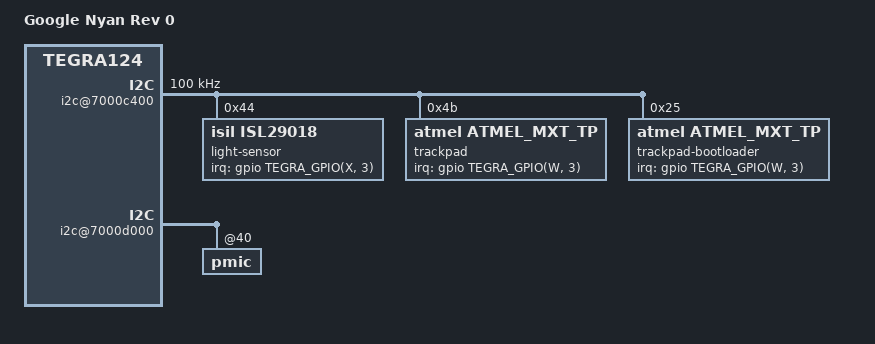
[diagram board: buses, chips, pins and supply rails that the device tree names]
/dts-v1/;

#include "tegra124.dtsi"
#include "tegra124-nyan.dtsi"
#include "tegra124-nyan-emc.dtsi"

/ {
	model = "Google Nyan Rev 0";

	compatible = "google,nyan-rev0", "google,nyan", "nvidia,venice2",
			"nvidia,tegra124";

	host1x@50000000 {
		dc@54200000 {
			pclk = <287456400>;
			h-ref-to-sync = <11>;
			v-ref-to-sync = <1>;
			h-sync-width = <32>;
			v-sync-width = <10>;
			h-back-porch = <80>;
			v-back-porch = <36>;
			h-active = <2560>;
			v-active = <1700>;
			h-front-porch = <48>;
			v-front-porch = <3>;
			depth = <24>;
			width = <283>;
			height = <195>;
			power-off-time = <500>;
		};
	};

	pinmux {
		pinmux@0 {
			dap1_din_pn1 {
				nvidia,pins = "dap1_din_pn1",
						"dap1_dout_pn2",
						"dap1_fs_pn0",
						"dap1_sclk_pn3";
				nvidia,function = "i2s0";
				nvidia,pull = <TEGRA_PIN_PULL_NONE>;
				nvidia,tristate = <TEGRA_PIN_ENABLE>;
				nvidia,enable-input = <TEGRA_PIN_ENABLE>;
			};
			dap4_din_pp5 {
				nvidia,pins = "dap4_din_pp5",
						"dap4_dout_pp6",
						"dap4_fs_pp4",
						"dap4_sclk_pp7";
				nvidia,function = "i2s3";
				nvidia,pull = <TEGRA_PIN_PULL_NONE>;
				nvidia,tristate = <TEGRA_PIN_ENABLE>;
				nvidia,enable-input = <TEGRA_PIN_ENABLE>;
			};
			uart2_cts_n_pj5 {
				nvidia,pins = "uart2_cts_n_pj5";
				nvidia,function = "uartb";
				nvidia,pull = <TEGRA_PIN_PULL_NONE>;
				nvidia,tristate = <TEGRA_PIN_DISABLE>;
				nvidia,enable-input = <TEGRA_PIN_ENABLE>;
			};
			uart2_rts_n_pj6 {
				nvidia,pins = "uart2_rts_n_pj6";
				nvidia,function = "uartb";
				nvidia,pull = <TEGRA_PIN_PULL_NONE>;
				nvidia,tristate = <TEGRA_PIN_DISABLE>;
				nvidia,enable-input = <TEGRA_PIN_DISABLE>;
			};
			uart2_rxd_pc3 {
				nvidia,pins = "uart2_rxd_pc3";
				nvidia,function = "irda";
				nvidia,pull = <TEGRA_PIN_PULL_NONE>;
				nvidia,tristate = <TEGRA_PIN_DISABLE>;
				nvidia,enable-input = <TEGRA_PIN_ENABLE>;
			};
			uart2_txd_pc2 {
				nvidia,pins = "uart2_txd_pc2";
				nvidia,function = "irda";
				nvidia,pull = <TEGRA_PIN_PULL_NONE>;
				nvidia,tristate = <TEGRA_PIN_DISABLE>;
				nvidia,enable-input = <TEGRA_PIN_DISABLE>;
			};
			uart3_cts_n_pa1 {
				nvidia,pins = "uart3_cts_n_pa1",
						"uart3_rxd_pw7";
				nvidia,function = "uartc";
				nvidia,pull = <TEGRA_PIN_PULL_NONE>;
				nvidia,tristate = <TEGRA_PIN_DISABLE>;
				nvidia,enable-input = <TEGRA_PIN_ENABLE>;
			};
			uart3_rts_n_pc0 {
				nvidia,pins = "uart3_rts_n_pc0",
						"uart3_txd_pw6";
				nvidia,function = "uartc";
				nvidia,pull = <TEGRA_PIN_PULL_NONE>;
				nvidia,tristate = <TEGRA_PIN_DISABLE>;
				nvidia,enable-input = <TEGRA_PIN_DISABLE>;
			};
			pb0 {
				nvidia,pins = "pb0",
						"pb1";
				nvidia,function = "uartd";
				nvidia,pull = <TEGRA_PIN_PULL_UP>;
				nvidia,tristate = <TEGRA_PIN_DISABLE>;
				nvidia,enable-input = <TEGRA_PIN_ENABLE>;
			};
			kbl_pwm {
				nvidia,pins = "ph0";
				nvidia,function = "pwm0";
				nvidia,pull = <TEGRA_PIN_PULL_NONE>;
				nvidia,tristate = <TEGRA_PIN_DISABLE>;
				nvidia,enable-input = <TEGRA_PIN_DISABLE>;
			};
			kb_row6_pr6 {
				nvidia,pins = "kb_row6_pr6";
				nvidia,function = "displaya_alt";
				nvidia,pull = <TEGRA_PIN_PULL_DOWN>;
				nvidia,tristate = <TEGRA_PIN_DISABLE>;
				nvidia,enable-input = <TEGRA_PIN_ENABLE>;
			};
			als_irq_l {
				nvidia,pins = "gpio_x3_aud_px3";
				nvidia,function = "gmi";
				nvidia,pull = <TEGRA_PIN_PULL_NONE>;
				nvidia,tristate = <TEGRA_PIN_ENABLE>;
				nvidia,enable-input = <TEGRA_PIN_ENABLE>;
			};
			wifi_rst_l {
				nvidia,pins = "clk2_req_pcc5";
				nvidia,function = "dap";
				nvidia,pull = <TEGRA_PIN_PULL_NONE>;
				nvidia,tristate = <TEGRA_PIN_DISABLE>;
				nvidia,enable-input = <TEGRA_PIN_DISABLE>;
			};
			hp_det_l {
				nvidia,pins = "ulpi_data1_po2";
				nvidia,function = "spi3";
				nvidia,pull = <TEGRA_PIN_PULL_NONE>;
				nvidia,tristate = <TEGRA_PIN_DISABLE>;
				nvidia,enable-input = <TEGRA_PIN_ENABLE>;
			};
		};
	};

	i2c@7000c400 {
		clock-frequency = <100000>;

		light-sensor {
			compatible = "isil,isl29018";
			reg = <0x44>;
			interrupt-parent = <&gpio>;
			interrupts = <TEGRA_GPIO(X, 3) IRQ_TYPE_NONE>;
		};

		trackpad {
			compatible = "atmel,atmel_mxt_tp";
			reg = <0x4b>;
			interrupt-parent = <&gpio>;
			interrupts = <TEGRA_GPIO(W, 3) IRQ_TYPE_EDGE_FALLING>;
			wakeup-source;
		};

		trackpad-bootloader {
			compatible = "atmel,atmel_mxt_tp";
			reg = <0x25>;
			interrupt-parent = <&gpio>;
			interrupts = <TEGRA_GPIO(W, 3) IRQ_TYPE_EDGE_FALLING>;
			wakeup-source;
		};
	};

	i2c@7000d000 {
		pmic@40 {
			pinctrl@0 {
				gpio6 {
					pins = "gpio6";
					function = "gpio";
					bias-high-impedance;
				};
			};
		};
	};

	sdhci@700b0000 {
		reset-gpios = <&gpio TEGRA_GPIO(CC, 5) GPIO_ACTIVE_HIGH>;
		trim-delay = <0x2>;
		calib-3v3-offsets = <0x7676>;
		calib-1v8-offsets = <0x7676>;
		calib-1v8-offsets-uhs-modes = <0x08>; /* DDR50 */
		max-frequency = <204000000>;
	};

	sdhci@700b0400 {
		wp-gpios = <&gpio TEGRA_GPIO(Q, 4) GPIO_ACTIVE_HIGH>;
		wp-inverted;
		trim-delay = <0x3>;
		calib-3v3-offsets = <0x7676>;
		calib-1v8-offsets = <0x7676>;
		calib-1v8-offsets-uhs-modes = <0x08>; /* DDR50 */
		max-frequency = <136000000>;
	};

	sdhci@700b0600 {
		trim-delay = <0x4>;
		ddr-trim-delay = <0x4>;
		calib-3v3-offsets = <0x0202>;
		calib-1v8-offsets = <0x0202>;
		calib-1v8-offsets-uhs-modes = <0x28>; /* DDR50 | HS200 */
		max-frequency = <200000000>;
	};

	sound {
		nvidia,hp-det-gpios = <&gpio TEGRA_GPIO(O, 2) GPIO_ACTIVE_HIGH>;
		nvidia,mic-det-gpios = <&gpio TEGRA_GPIO(R, 7)
							GPIO_ACTIVE_HIGH>;
	};

	skin_temp: therm-est {
		compatible = "nvidia,tegra124-therm-est";
		toffset = <9793>;
		tc1 = <10>;
		tc2 = <1>;
		polling-period = <1100>;

		#thermal-sensor-cells = <0>;

		sub-devs {
			dev@0 {
				dev = <&diode_thermal_sensor>;
				coeffs = "2 1 1 1 1 1 1 1 1 1 1 0 1 1 0 0 0 0 -1 -7";
			};

			dev@1 {
				dev = <&board_thermal_sensor>;
				coeffs = "-11 -7 -5 -3 -3 -2 -1 0 0 0 1 1 1 2 2 3 4 6 11 18";
			};
		};
	};

	thermal-zones {
		skin-therm {
			polling-delay-passive = <15000>; /* milliseconds */
			polling-delay = <0>; /* milliseconds */

			thermal-sensors = <&skin_temp>;

			trips {
				balance_trip0: balance_trip {
					temperature = <45000>; /* millicelsius */
					hysteresis = <0>; /* millicelsius */
					type = "passive";
				};
			};

			cooling-maps {
				map0 {
					trip = <&balance_trip0>;
					cooling-device = <&throttle0 THERMAL_NO_LIMIT THERMAL_NO_LIMIT>;
				};
			};
		};
	};
};
